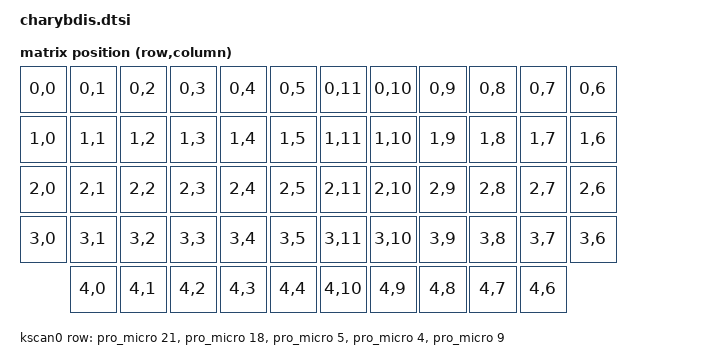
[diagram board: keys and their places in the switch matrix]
#include <dt-bindings/zmk/matrix_transform.h>
#include <physical_layouts.dtsi>

/ {
    chosen {
        zmk,physical-layout = &matrix_physical_layout;
    };

    default_transform: keymap_transform_0 {
        compatible = "zmk,matrix-transform";
        columns = <12>;
        rows = <5>;
				
        map = <
	RC(0,0) RC(0,1) RC(0,2) RC(0,3) RC(0,4) RC(0,5)  RC(0,11) RC(0,10) RC(0,9) RC(0,8) RC(0,7) RC(0,6)
	RC(1,0) RC(1,1) RC(1,2) RC(1,3) RC(1,4) RC(1,5)  RC(1,11) RC(1,10) RC(1,9) RC(1,8) RC(1,7) RC(1,6)
	RC(2,0) RC(2,1) RC(2,2) RC(2,3) RC(2,4) RC(2,5)  RC(2,11) RC(2,10) RC(2,9) RC(2,8) RC(2,7) RC(2,6)
	RC(3,0) RC(3,1) RC(3,2) RC(3,3) RC(3,4) RC(3,5)  RC(3,11) RC(3,10) RC(3,9) RC(3,8) RC(3,7) RC(3,6)
	        RC(4,0) RC(4,1) RC(4,2) RC(4,3) RC(4,4)  RC(4,10) RC(4,9)  RC(4,8) RC(4,7) RC(4,6) 
        >;
    };

    kscan0: kscan {
        compatible = "zmk,kscan-gpio-matrix";
        label = "KSCAN";

        diode-direction = "row2col";
		row-gpios
			= <&pro_micro 21 GPIO_ACTIVE_HIGH>
			 ,<&pro_micro 18 GPIO_ACTIVE_HIGH>
			, <&pro_micro 5 GPIO_ACTIVE_HIGH>
			, <&pro_micro 4 GPIO_ACTIVE_HIGH>
			, <&pro_micro 9 GPIO_ACTIVE_HIGH>
            ;
    };
    matrix_physical_layout:matrix_physical_layout {
    	compatible = "zmk,physical-layout";
    	display-name = "matrix layout";
    	kscan = <&kscan0>;
    	transform = <&default_transform>;
keys  //                     w   h    x    y     rot    rx    ry
            = <&key_physical_attrs 100 100    0   57       0     0     0>
            , <&key_physical_attrs 100 100  100   57       0     0     0>
            , <&key_physical_attrs 100 100  200   12       0     0     0>
            , <&key_physical_attrs 100 100  300    0       0     0     0>
            , <&key_physical_attrs 100 100  400   12       0     0     0>
            , <&key_physical_attrs 100 100  500   12       0     0     0>
            , <&key_physical_attrs 100 100 1200   12       0     0     0>
            , <&key_physical_attrs 100 100 1300   12       0     0     0>
            , <&key_physical_attrs 100 100 1400    0       0     0     0>
            , <&key_physical_attrs 100 100 1500   12       0     0     0>
            , <&key_physical_attrs 100 100 1600   57       0     0     0>
            , <&key_physical_attrs 100 100 1700   57       0     0     0>
            , <&key_physical_attrs 100 100    0  158       0     0     0>
            , <&key_physical_attrs 100 100  100  158       0     0     0>
            , <&key_physical_attrs 100 100  200  112       0     0     0>
            , <&key_physical_attrs 100 100  300  100       0     0     0>
            , <&key_physical_attrs 100 100  400  112       0     0     0>
            , <&key_physical_attrs 100 100  500  112       0     0     0>
            , <&key_physical_attrs 100 100 1200  112       0     0     0>
            , <&key_physical_attrs 100 100 1300  112       0     0     0>
            , <&key_physical_attrs 100 100 1400  100       0     0     0>
            , <&key_physical_attrs 100 100 1500  112       0     0     0>
            , <&key_physical_attrs 100 100 1600  158       0     0     0>
            , <&key_physical_attrs 100 100 1700  158       0     0     0>
            , <&key_physical_attrs 100 100    0  258       0     0     0>
            , <&key_physical_attrs 100 100  100  258       0     0     0>
            , <&key_physical_attrs 100 100  200  212       0     0     0>
            , <&key_physical_attrs 100 100  300  200       0     0     0>
            , <&key_physical_attrs 100 100  400  212       0     0     0>
            , <&key_physical_attrs 100 100  500  212       0     0     0>
            , <&key_physical_attrs 100 100 1200  212       0     0     0>
            , <&key_physical_attrs 100 100 1300  212       0     0     0>
            , <&key_physical_attrs 100 100 1400  200       0     0     0>
            , <&key_physical_attrs 100 100 1500  212       0     0     0>
            , <&key_physical_attrs 100 100 1600  258       0     0     0>
            , <&key_physical_attrs 100 100 1700  258       0     0     0>
            , <&key_physical_attrs 100 100    0  358       0     0     0>
            , <&key_physical_attrs 100 100  100  358       0     0     0>
            , <&key_physical_attrs 100 100  200  312       0     0     0>
            , <&key_physical_attrs 100 100  300  300       0     0     0>
            , <&key_physical_attrs 100 100  400  312       0     0     0>
            , <&key_physical_attrs 100 100  500  312       0     0     0>
            , <&key_physical_attrs 100 100 1200  312       0     0     0>
            , <&key_physical_attrs 100 100 1300  312       0     0     0>
            , <&key_physical_attrs 100 100 1400  300       0     0     0>
            , <&key_physical_attrs 100 100 1500  312       0     0     0>
            , <&key_physical_attrs 100 100 1600  358       0     0     0>
            , <&key_physical_attrs 100 100 1700  358       0     0     0>
            , <&key_physical_attrs 100 100  348  412    2000   398   890>
            , <&key_physical_attrs 100 100  348  412    4000   398   890>
            , <&key_physical_attrs 100 100  348  512    4000   398   890>
            , <&key_physical_attrs 100 100  348  412       0     0     0>
            , <&key_physical_attrs 100 100  348  512    2000   398   890>
            , <&key_physical_attrs 100 100 1352  512 (-4000)  1402   890>
            , <&key_physical_attrs 100 100 1352  412 (-4000)  1402   890>
            , <&key_physical_attrs 100 100 1352  412 (-2000)  1402   890>
            ;		
  };
};

/ {
    split_inputs {
        #address-cells = <1>;
        #size-cells = <0>;

        pmw_split: pmw_split@0 {
            compatible = "zmk,input-split";
            reg = <0>;
        };
    };

    pmw_listener: pmw_listener {
        compatible = "zmk,input-listener";
        status = "disabled";
        device = <&pmw_split>;
    };
};
